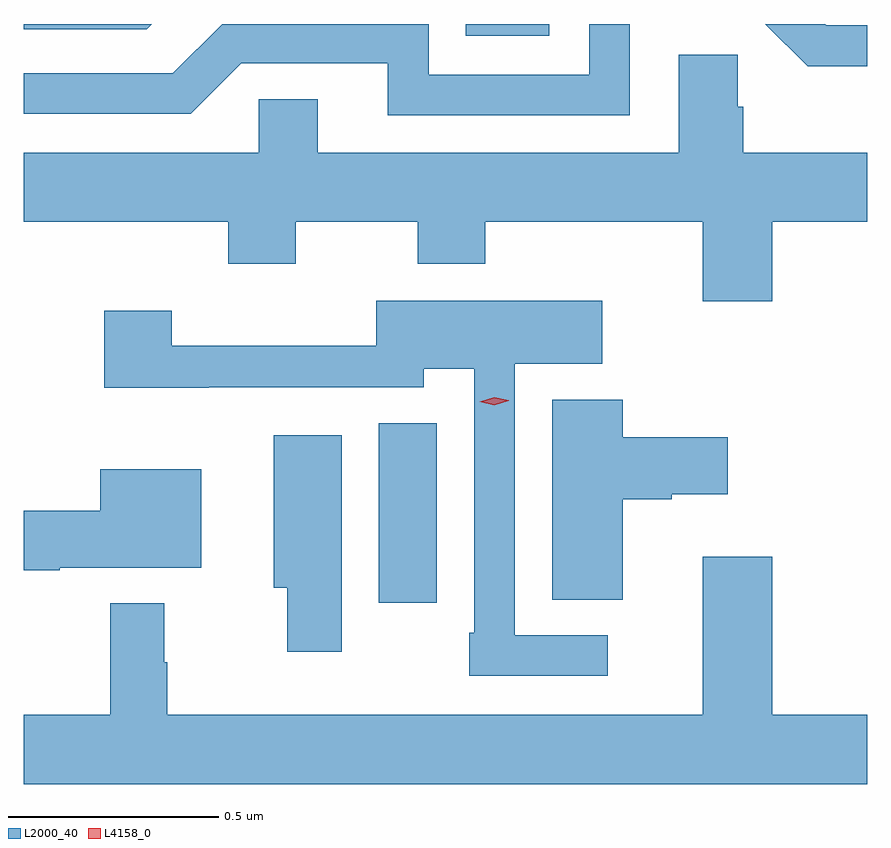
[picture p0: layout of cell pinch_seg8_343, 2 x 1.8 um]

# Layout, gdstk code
import gdstk
lib = gdstk.Library(unit=1e-6, precision=1e-09)
def R(c, l, rs):  # rectangles x0, y0, x1, y1
    for r in rs: c.add(gdstk.rectangle(r[:2], r[2:], *l))
def P(c, l, *ps):  # polygons
    for p in ps: c.add(gdstk.Polygon(p, *l))
L2000_40 = (2000, 40)
L4158_0 = (4158, 0)

pinch_seg8_343 = lib.new_cell('pinch_seg8_343')
R(pinch_seg8_343, L2000_40, [(427.976,1159.554,428.113,1159.979), (428.182,1160.897,428.38,1160.925)])
P(pinch_seg8_343, L2000_40, [(428.571,1160.925),(428.475,1160.925),(428.475,1160.805),(428.094,1160.805),(428.094,1160.925),(427.605,1160.925),(427.488,1160.808),(427.134,1160.808),(427.134,1160.712),(427.53,1160.712),(427.65,1160.832),(427.997,1160.832),(427.997,1160.709),(428.571,1160.709)],
  [(427.438,1160.925),(427.134,1160.925),(427.134,1160.913),(427.426,1160.913)],
  [(429.134,1160.922),(429.037,1160.922),(429.034,1160.925),(428.892,1160.925),(428.993,1160.825),(429.134,1160.825)],
  [(428.908,1160.456),(429.134,1160.456),(429.134,1160.62),(428.84,1160.62),(428.84,1160.729),(428.826,1160.729),(428.826,1160.852),(428.687,1160.852),(428.687,1160.62),(427.831,1160.62),(427.831,1160.747),(427.692,1160.747),(427.692,1160.62),(427.134,1160.62),(427.134,1160.456),(427.619,1160.456),(427.619,1160.357),(427.779,1160.357),(427.779,1160.456),(428.068,1160.456),(428.068,1160.357),(428.228,1160.357),(428.228,1160.456),(428.744,1160.456),(428.744,1160.268),(428.908,1160.268)],
  [(428.518,1159.476),(428.298,1159.476),(428.298,1160.12),(428.506,1160.12),(428.506,1160.269),(427.97,1160.269),(427.97,1160.162),(427.485,1160.162),(427.485,1160.245),(427.325,1160.245),(427.325,1160.063),(427.573,1160.063),(427.573,1160.064),(428.083,1160.064),(428.083,1160.108),(428.202,1160.108),(428.202,1159.483),(428.19,1159.483),(428.19,1159.38),(428.518,1159.38)],
  [(428.554,1159.799),(428.67,1159.799),(428.67,1159.811),(428.803,1159.811),(428.803,1159.946),(428.554,1159.946),(428.554,1160.035),(428.387,1160.035),(428.387,1159.561),(428.554,1159.561)],
  [(427.888,1159.951),(427.727,1159.951),(427.727,1159.589),(427.759,1159.589),(427.759,1159.437),(427.888,1159.437)],
  [(427.22,1159.637),(427.555,1159.637),(427.555,1159.87),(427.316,1159.87),(427.316,1159.772),(427.134,1159.772),(427.134,1159.63),(427.22,1159.63)],
  [(429.134,1159.288),(428.908,1159.288),(428.908,1159.663),(428.744,1159.663),(428.744,1159.288),(427.475,1159.288),(427.475,1159.412),(427.468,1159.412),(427.468,1159.552),(427.34,1159.552),(427.34,1159.288),(427.134,1159.288),(427.134,1159.124),(429.134,1159.124)])
P(pinch_seg8_343, L4158_0, [(428.25,1160.021),(428.215,1160.03),(428.214,1160.03),(428.215,1160.03),(428.249,1160.041),(428.284,1160.033),(428.284,1160.032),(428.284,1160.032)])

lib.write_gds('pinch_seg8_343.gds')
